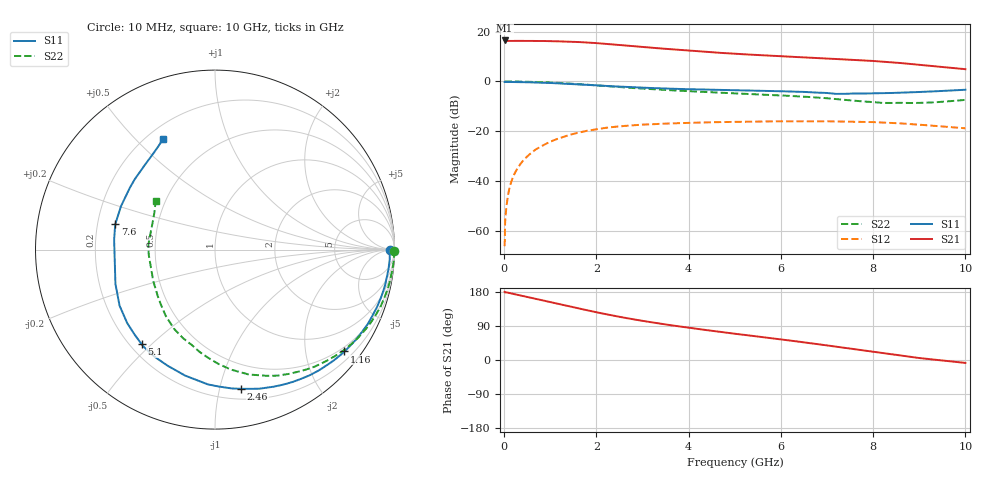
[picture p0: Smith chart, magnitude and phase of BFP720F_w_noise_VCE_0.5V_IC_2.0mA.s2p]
! Infineon Technologies  Discrete & RF Semiconductors
! BFP720F
! VCE =  0.5 V,  IC =  2.0 mA
! Common Emitter S-Parameters:  Jan 2016
# GHz  S  MA  R  50
!  f  S11  S21  S12  S22
! GHz  MAG  ANG  MAG  ANG  MAG  ANG  MAG  ANG
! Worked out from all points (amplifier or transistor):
!   233 points, 10 MHz to 10 GHz, reference 50 ohm
!   highest |S21| = 16.4 dB at 10 MHz (marker M1)
!   |S21| within 3 dB of that: start of sweep to 3.256 GHz
!   unconditionally stable (mu >= 1): start of sweep to 10.15 MHz
!   at 200 MHz: K = 0.02, MSG = 27.2 dB, |S12| = -38.1 dB
!   at 1.74 GHz: K = 0.15, MSG = 17.8 dB, |S12| = -20.0 dB
!   at 10 GHz: K = 0.94, MSG = 11.8 dB, |S12| = -18.8 dB
!   lowest NFmin = 0.43 dB at 450 MHz
!   S11 on the Smith chart (normalised r, x): 10 MHz: 73, -10; 1.16 GHz: 0.40, -2.84; 2.46 GHz: 0.28, -1.17; 5.1 GHz: 0.25, -0.46; 7.6 GHz: 0.27, +0.12; 10 GHz: 0.26, +0.60
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0.01  0.9735 -0.2  6.619 179.7  0.0005 -8.8  0.9958 -0.4
0.015  0.9746 -0.4  6.502 179.0  0.0007 70.8  0.9979 -0.8
0.02  0.9757 -0.6  6.386 178.2  0.0014 91.4  1 -1.2
0.025  0.9753 -0.8  6.4 178.3  0.0017 90.5  0.9995 -1.2
0.065  0.9739 -2.2  6.474 178.1  0.0041 88.0  0.9974 -1.8
0.14  0.9738 -4.5  6.499 176.1  0.0089 86.9  0.9973 -3.7
0.24  0.9712 -7.7  6.5 173.3  0.0151 84.5  0.9953 -6.3
0.45  0.9643 -14.5  6.464 167.6  0.0283 79.7  0.9877 -12.1
0.8  0.9461 -26.2  6.473 158.4  0.0499 71.1  0.9687 -21.6
1.16  0.9174 -38.2  6.351 148.5  0.071 62.0  0.9361 -31.6
1.68  0.8666 -55.8  6.108 134.4  0.0974 49.2  0.8734 -45.9
2  0.8335 -66.1  5.857 126.0  0.1105 41.8  0.8334 -53.9
2.46  0.7895 -79.3  5.401 115.0  0.1248 31.7  0.7766 -64.8
2.98  0.753 -92.5  4.931 103.6  0.1359 22.2  0.7223 -74.6
3.4  0.7258 -101.2  4.571 95.7  0.1415 15.4  0.6829 -80.8
4  0.6991 -112.0  4.138 85.0  0.1482 6.7  0.6375 -88.2
5.1  0.6666 -127.9  3.544 67.9  0.1556 -7.1  0.5699 -99.6
6.8  0.5958 -156.3  2.944 41.8  0.1589 -27.6  0.4731 -122.8
7.6  0.5736 165.7  2.686 28.8  0.1557 -37.6  0.4103 -141.1
8.4  0.5866 143.8  2.415 15.2  0.1476 -48.4  0.3703 -175.6
9  0.6139 129.2  2.155 5.2  0.136 -56.0  0.3714 163.4
10  0.6807 115.1  1.759 -7.7  0.115 -64.8  0.4267 140.8
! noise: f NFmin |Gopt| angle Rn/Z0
0.45  0.43  0.69  4  0.26
0.9  0.5  0.69  12  0.28
1.8  0.54  0.67  25  0.22
2.4  0.57  0.66  31  0.22
5.5  0.87  0.48  86  0.15
10  1.3  0.32  -135  0.15
